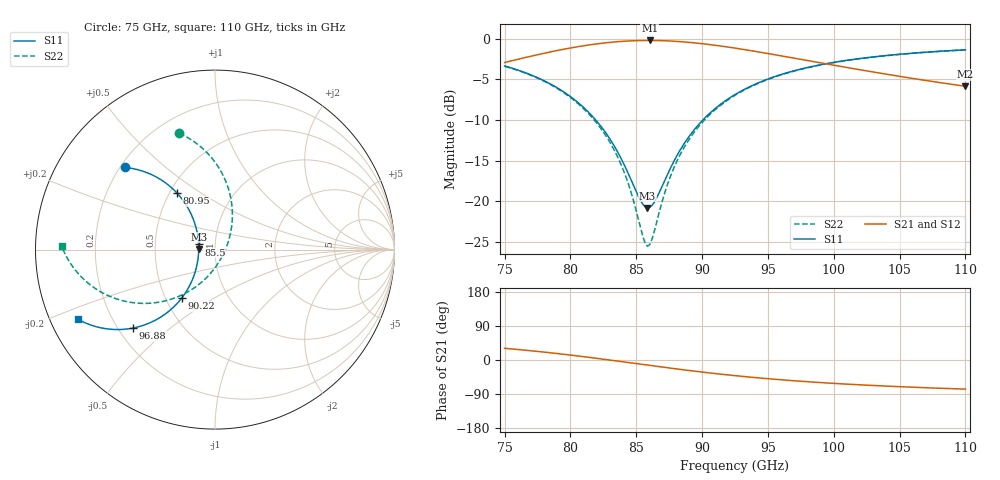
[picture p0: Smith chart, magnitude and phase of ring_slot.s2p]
! Created with skrf 1.12.0 (http://scikit-rf.org).
# GHz S RI R 50.0
!freq ReS11 ImS11 ReS21 ImS21 ReS12 ImS12 ReS22 ImS22
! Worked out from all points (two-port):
!   201 points, 75 GHz to 110 GHz, reference 50 ohm
!   highest |S21| = -0.20 dB at 86.03 GHz (marker M1); lowest = -5.8 dB at 110 GHz (marker M2)
!   |S21| within 3 dB of the highest: start of sweep to 99.82 GHz
!   lowest |S11| = -20.8 dB at 85.85 GHz (marker M3), VSWR 1.20, Z = 41.7 + j0.293 ohm
!   |S11| at or under -10 dB: 81.92 GHz to 90.06 GHz (8.137 GHz wide, 9.46 % of centre)
!   |S22| runs from -25.6 to -1.4 dB; largest |S21 - S12| = 0
!   S11 on the Smith chart (normalised r, x): 75 GHz: 0.22, +0.37; 80.95 GHz: 0.54, +0.40; 85.5 GHz: 0.83, +0.05; 90.22 GHz: 0.61, -0.36; 96.88 GHz: 0.26, -0.38; 110 GHz: 0.08, -0.24
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75  -0.5037 0.4578  0.6135 0.3668  0.6135 0.3668  -0.1996 0.6483
77.975  -0.3594 0.4205  0.7606 0.2912  0.7606 0.2912  -0.0515 0.5471
80.95  -0.2128 0.316  0.8943 0.142  0.8943 0.142  0.0646 0.3689
82.35  -0.1558 0.2407  0.9378 0.0461  0.9378 0.0461  0.0921 0.2618
83.575  -0.1186 0.1632  0.9594 -0.0473  0.9594 -0.0473  0.096 0.1616
84.45  -0.1011 0.1032  0.9637 -0.117  0.9637 -0.117  0.0861 0.0895
85.5  -0.0913 0.0285  0.9562 -0.2008  0.9562 -0.2008  0.0603 0.00578
85.85  -0.0908 0.00348  0.9506 -0.2282  0.9506 -0.2282  0.0485 -0.0208
86.025  -0.0911 -0.00899  0.9473 -0.2418  0.9473 -0.2418  0.042 -0.0338
86.2  -0.0917 -0.0214  0.9436 -0.2552  0.9436 -0.2552  0.0352 -0.0466
86.725  -0.0955 -0.0583  0.9304 -0.2945  0.9304 -0.2945  0.0126 -0.0834
87.425  -0.1052 -0.1061  0.9083 -0.3444  0.9083 -0.3444  -0.0217 -0.1285
88.125  -0.1195 -0.1516  0.8815 -0.3906  0.8815 -0.3906  -0.0602 -0.1685
89  -0.1432 -0.2044  0.8428 -0.4425  0.8428 -0.4425  -0.1127 -0.211
90.225  -0.1848 -0.2692  0.7815 -0.5032  0.7815 -0.5032  -0.1909 -0.2557
92.5  -0.2772 -0.359  0.6586 -0.5793  0.6586 -0.5793  -0.3371 -0.2965
94.425  -0.3591 -0.4063  0.5573 -0.6114  0.5573 -0.6114  -0.4499 -0.2966
96.875  -0.4565 -0.4371  0.443 -0.6219  0.443 -0.6219  -0.5702 -0.267
98.45  -0.5123 -0.4444  0.38 -0.6167  0.38 -0.6167  -0.6331 -0.2375
101.25  -0.5966 -0.4423  0.2877 -0.5945  0.2877 -0.5945  -0.72 -0.1756
104.225  -0.6674 -0.428  0.2129 -0.5624  0.2129 -0.5624  -0.7845 -0.1061
110  -0.7631 -0.3882  0.1161 -0.4967  0.1161 -0.4967  -0.8552 0.021
